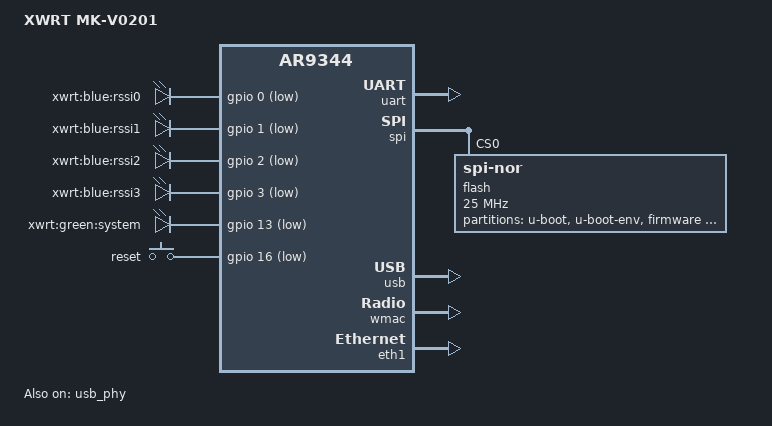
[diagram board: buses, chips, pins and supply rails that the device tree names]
// SPDX-License-Identifier: GPL-2.0-or-later OR MIT
/dts-v1/;

#include <dt-bindings/gpio/gpio.h>
#include <dt-bindings/input/input.h>

#include "ar9344.dtsi"

/ {
	model = "XWRT MK-V0201";
	compatible = "xwrt,mk-v0201", "qca,ar9344";

	chosen {
		bootargs = "console=ttyS0,115200n8";
	};

	aliases {
		led-boot = &system;
		led-failsafe = &system;
		led-running = &system;
		led-upgrade = &system;
	};

	leds {
		compatible = "gpio-leds";

		pinctrl-names = "default";
		pinctrl-0 = <&jtag_disable_pins>;

		rssi0 {
			label = "xwrt:blue:rssi0";
			gpios = <&gpio 0 GPIO_ACTIVE_LOW>;
		};

		rssi1 {
			label = "xwrt:blue:rssi1";
			gpios = <&gpio 1 GPIO_ACTIVE_LOW>;
		};

		rssi2 {
			label = "xwrt:blue:rssi2";
			gpios = <&gpio 2 GPIO_ACTIVE_LOW>;
		};

		rssi3 {
			label = "xwrt:blue:rssi3";
			gpios = <&gpio 3 GPIO_ACTIVE_LOW>;
		};

		system: system {
			label = "xwrt:green:system";
			gpios = <&gpio 13 GPIO_ACTIVE_LOW>;
			default-state = "on";
		};
	};

	keys {
		compatible = "gpio-keys";

		reset {
			linux,code = <KEY_RESTART>;
			gpios = <&gpio 16 GPIO_ACTIVE_LOW>;
			debounce-interval = <60>;
		};
	};
};

&ref {
	clock-frequency = <40000000>;
};

&uart {
	status = "okay";
};

&gpio {
	status = "okay";
};

&spi {
	num-cs = <1>;

	status = "okay";

	flash@0 {
		compatible = "jedec,spi-nor";
		reg = <0>;
		spi-max-frequency = <25000000>;

		partitions {
			compatible = "fixed-partitions";
			#address-cells = <1>;
			#size-cells = <1>;

			uboot: partition@0 {
				label = "u-boot";
				reg = <0x000000 0x040000>;
			};

			partition@40000 {
				label = "u-boot-env";
				reg = <0x040000 0x010000>;
			};

			partition@50000 {
				compatible = "denx,uimage";
				label = "firmware";
				reg = <0x050000 0xfa0000>;
			};

			art: partition@ff0000 {
				label = "art";
				reg = <0xff0000 0x010000>;
			};
		};
	};
};

&usb {
	status = "okay";
	#address-cells = <1>;
	#size-cells = <0>;

	hub_port1: port@1 {
		reg = <1>;
		#trigger-source-cells = <0>;
	};
};

&usb_phy {
	status = "okay";
};

&wmac {
	status = "okay";
	mtd-cal-data = <&art 0x1000>;
	mtd-mac-address = <&art 0x0>;
	mtd-mac-address-increment = <2>;
};

&eth1 {
	status = "okay";
	mtd-mac-address = <&art 0x0>;

	pll-data = <0x06000000 0x00000101 0x00001313>;

	gmac-config {
		device = <&gmac>;
		switch-phy-swap = <0>;
	};
};
